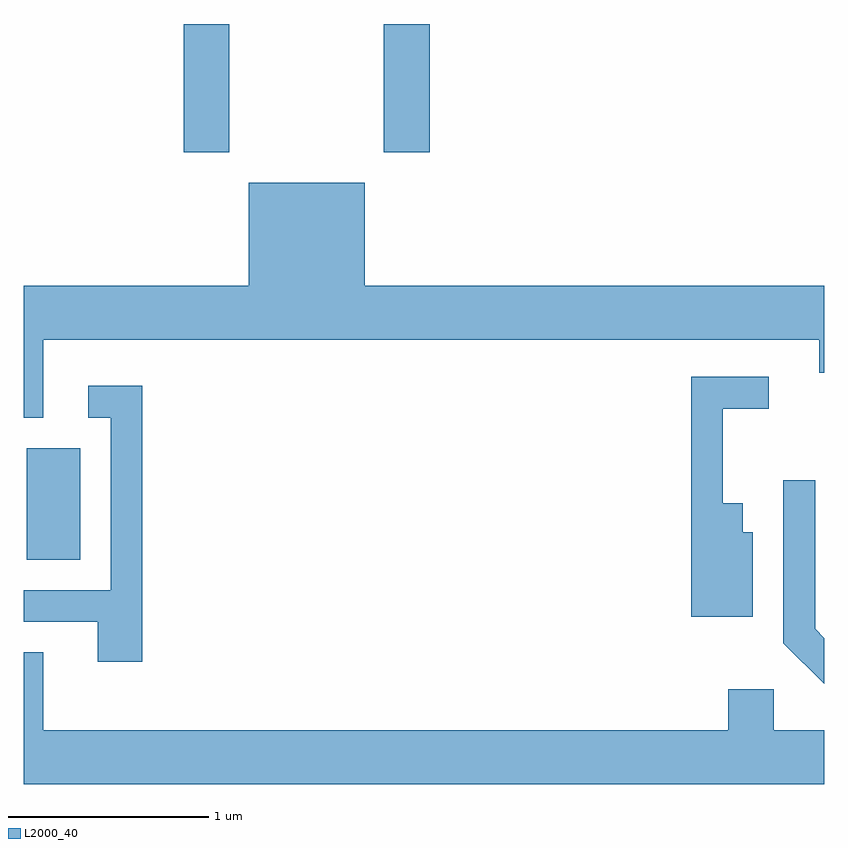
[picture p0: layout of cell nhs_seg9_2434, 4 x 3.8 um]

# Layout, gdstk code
import gdstk
lib = gdstk.Library(unit=1e-6, precision=1e-09)
def R(c, l, rs):  # rectangles x0, y0, x1, y1
    for r in rs: c.add(gdstk.rectangle(r[:2], r[2:], *l))
def P(c, l, *ps):  # polygons
    for p in ps: c.add(gdstk.Polygon(p, *l))
L2000_40 = (2000, 40)

nhs_seg9_2434 = lib.new_cell('nhs_seg9_2434')
R(nhs_seg9_2434, L2000_40, [(255.626,2061.756,255.894,2062.314), (256.411,2063.791,256.639,2064.432), (257.411,2063.791,257.639,2064.432)])
P(nhs_seg9_2434, L2000_40, [(255.611,2062.466),(255.709,2062.466),(255.709,2062.856),(259.586,2062.856),(259.586,2062.691),(259.611,2062.691),(259.611,2063.124),(257.314,2063.124),(257.314,2063.639),(256.736,2063.639),(256.736,2063.124),(255.611,2063.124)],
  [(259.254,2061.894),(259.204,2061.894),(259.204,2062.039),(259.104,2062.039),(259.104,2062.511),(259.332,2062.511),(259.332,2062.669),(258.946,2062.669),(258.946,2061.471),(259.254,2061.471)],
  [(256.204,2062.624),(255.933,2062.624),(255.933,2062.466),(256.046,2062.466),(256.046,2061.604),(255.611,2061.604),(255.611,2061.446),(255.981,2061.446),(255.981,2061.246),(256.204,2061.246)],
  [(259.611,2061.365),(259.564,2061.412),(259.564,2062.153),(259.406,2062.153),(259.406,2061.338),(259.609,2061.136),(259.611,2061.136)],
  [(259.611,2060.904),(259.359,2060.904),(259.359,2061.109),(259.131,2061.109),(259.131,2060.904),(255.709,2060.904),(255.709,2061.294),(255.611,2061.294),(255.611,2060.636),(259.611,2060.636)])

lib.write_gds('nhs_seg9_2434.gds')
